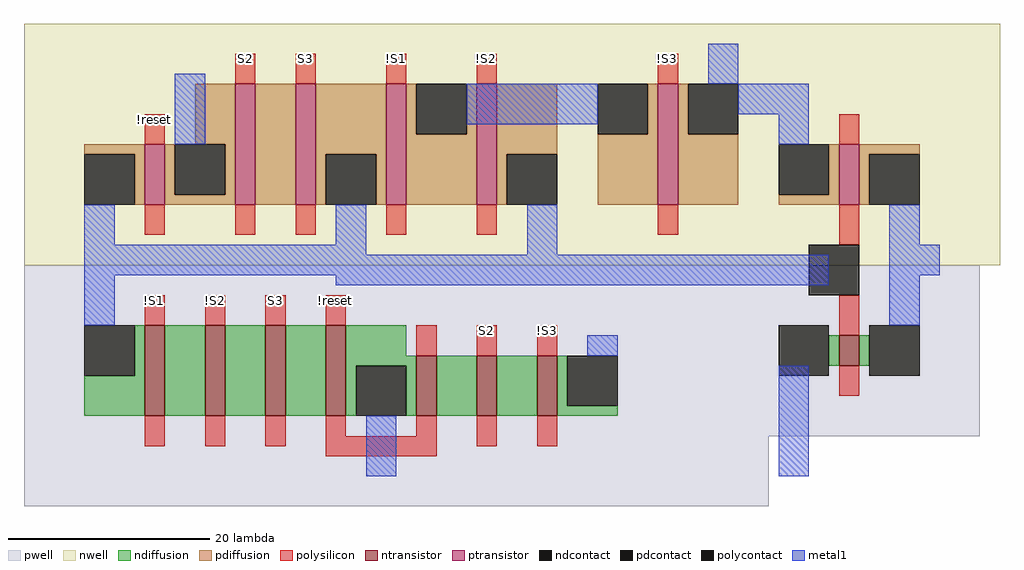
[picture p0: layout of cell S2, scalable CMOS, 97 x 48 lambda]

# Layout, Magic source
magic
tech scmos
<< nwell >>
rect -7 -6 90 18
<< pwell >>
rect -7 -30 67 -6
<< ntransistor >>
rect 5 -21 7 -12
rect 11 -21 13 -12
rect 17 -21 19 -12
rect 23 -21 25 -12
rect 32 -21 34 -15
rect 38 -21 40 -15
rect 44 -21 46 -15
<< ptransistor >>
rect 5 0 7 6
rect 14 0 16 12
rect 20 0 22 12
rect 29 0 31 12
rect 38 0 40 12
rect 56 0 58 12
<< ndiffusion >>
rect 4 -17 5 -12
rect -1 -21 5 -17
rect 7 -21 11 -12
rect 13 -21 17 -12
rect 19 -21 23 -12
rect 25 -15 31 -12
rect 25 -16 32 -15
rect 25 -21 26 -16
rect 31 -21 32 -16
rect 34 -21 38 -15
rect 40 -21 44 -15
rect 46 -20 47 -15
rect 46 -21 52 -20
<< pdiffusion >>
rect 10 6 14 12
rect -1 5 5 6
rect 4 0 5 5
rect 7 1 8 6
rect 13 1 14 6
rect 7 0 14 1
rect 16 0 20 12
rect 22 5 29 12
rect 22 0 23 5
rect 28 0 29 5
rect 31 7 32 12
rect 37 7 38 12
rect 31 0 38 7
rect 40 5 46 12
rect 40 0 41 5
rect 55 7 56 12
rect 50 0 56 7
rect 58 7 59 12
rect 58 0 64 7
<< ndcontact >>
rect -1 -17 4 -12
rect 26 -21 31 -16
rect 47 -20 52 -15
<< pdcontact >>
rect -1 0 4 5
rect 8 1 13 6
rect 23 0 28 5
rect 32 7 37 12
rect 41 0 46 5
rect 50 7 55 12
rect 59 7 64 12
<< polysilicon >>
rect 14 12 16 15
rect 20 12 22 15
rect 29 12 31 15
rect 38 12 40 15
rect 56 12 58 15
rect 5 6 7 9
rect 5 -3 7 0
rect 14 -3 16 0
rect 20 -3 22 0
rect 29 -3 31 0
rect 38 -3 40 0
rect 56 -3 58 0
rect 5 -12 7 -9
rect 11 -12 13 -9
rect 17 -12 19 -9
rect 23 -12 25 -9
rect 32 -15 34 -12
rect 38 -15 40 -12
rect 44 -15 46 -12
rect 5 -24 7 -21
rect 11 -24 13 -21
rect 17 -24 19 -21
rect 23 -23 25 -21
rect 32 -23 34 -21
rect 23 -25 34 -23
rect 38 -24 40 -21
rect 44 -24 46 -21
<< metal1 >>
rect 8 6 11 13
rect 61 12 64 16
rect 37 8 50 12
rect 64 9 71 12
rect 68 6 71 9
rect -1 -4 2 0
rect 24 -4 27 0
rect -1 -5 27 -4
rect 43 -5 46 0
rect -1 -7 73 -5
rect -1 -12 2 -7
rect 24 -8 73 -7
rect 49 -15 52 -13
rect 27 -27 30 -21
rect 68 -27 71 -16
use INV1X  INV1X_0
transform 1 0 68 0 1 0
box -6 -23 20 12
<< labels >>
rlabel polysilicon 5 -10 7 -9 1 !S1
rlabel polysilicon 11 -10 13 -9 1 !S2
rlabel polysilicon 17 -10 19 -9 1 S3
rlabel polysilicon 23 -10 25 -9 1 !reset
rlabel polysilicon 38 -13 40 -12 1 S2
rlabel polysilicon 44 -13 46 -12 1 !S3
rlabel polysilicon 5 8 7 9 1 !reset
rlabel polysilicon 14 14 16 15 1 S2
rlabel polysilicon 20 14 22 15 1 S3
rlabel polysilicon 56 14 58 15 1 !S3
rlabel polysilicon 29 14 31 15 1 !S1
rlabel polysilicon 38 14 40 15 1 !S2
<< end >>

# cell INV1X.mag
magic
tech scmos
<< nwell >>
rect -6 -6 20 12
<< pwell >>
rect -6 -23 20 -6
<< ntransistor >>
rect 6 -16 8 -13
<< ptransistor >>
rect 6 0 8 6
<< ndiffusion >>
rect 5 -16 6 -13
rect 8 -16 9 -13
<< pdiffusion >>
rect 5 1 6 6
rect 0 0 6 1
rect 8 5 14 6
rect 8 0 9 5
<< ndcontact >>
rect 0 -17 5 -12
rect 9 -17 14 -12
<< pdcontact >>
rect 0 1 5 6
rect 9 0 14 5
<< polysilicon >>
rect 6 6 8 9
rect 6 -4 8 0
rect 6 -13 8 -9
rect 6 -19 8 -16
<< polycontact >>
rect 3 -9 8 -4
<< metal1 >>
rect 11 -4 14 0
rect 11 -7 16 -4
rect 11 -12 14 -7
<< end >>
